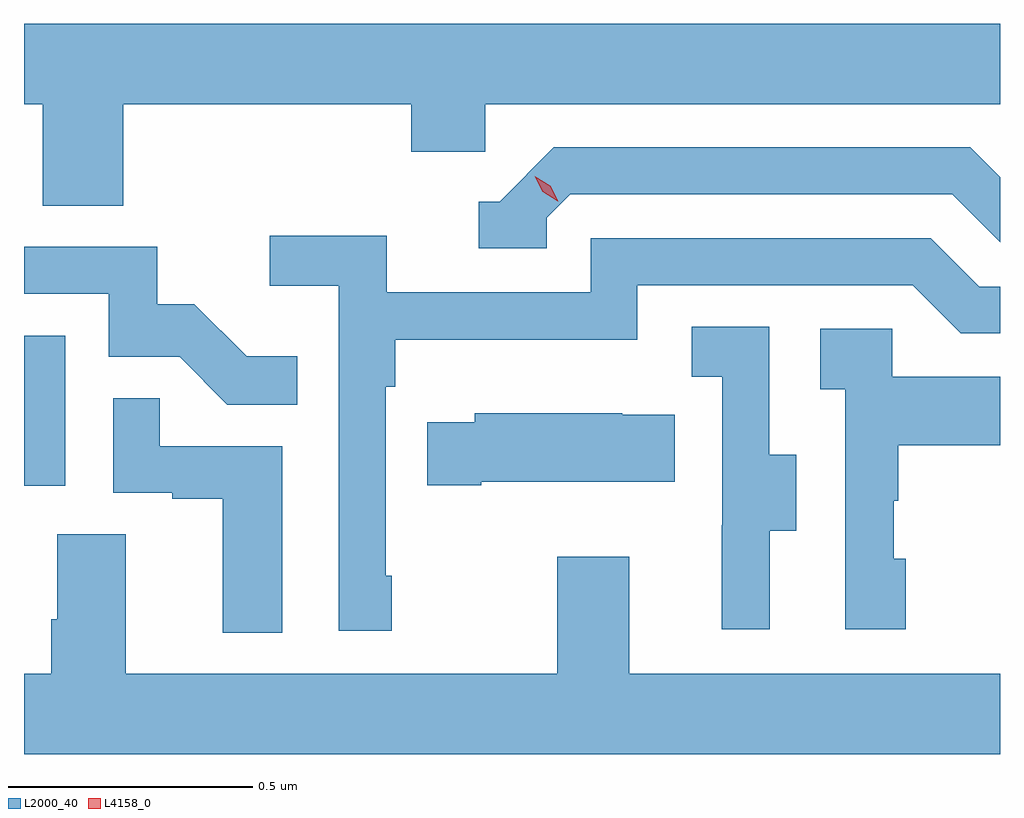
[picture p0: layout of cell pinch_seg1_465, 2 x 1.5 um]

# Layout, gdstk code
import gdstk
lib = gdstk.Library(unit=1e-6, precision=1e-09)
def R(c, l, rs):  # rectangles x0, y0, x1, y1
    for r in rs: c.add(gdstk.rectangle(r[:2], r[2:], *l))
def P(c, l, *ps):  # polygons
    for p in ps: c.add(gdstk.Polygon(p, *l))
L2000_40 = (2000, 40)
L4158_0 = (4158, 0)

pinch_seg1_465 = lib.new_cell('pinch_seg1_465')
R(pinch_seg1_465, L2000_40, [(1000.785,508.326,1000.87,508.633)])
P(pinch_seg1_465, L2000_40, [(1000.988,509.108),(1001.579,509.108),(1001.579,509.01),(1001.73,509.01),(1001.73,509.108),(1002.785,509.108),(1002.785,509.272),(1000.785,509.272),(1000.785,509.108),(1000.823,509.108),(1000.823,508.9),(1000.988,508.9)],
  [(1001.856,508.875),(1001.904,508.923),(1002.687,508.923),(1002.785,508.825),(1002.785,508.958),(1002.724,509.019),(1001.871,509.019),(1001.76,508.908),(1001.717,508.908),(1001.717,508.812),(1001.856,508.812)],
  [(1001.539,508.141),(1001.526,508.141),(1001.526,508.529),(1001.546,508.529),(1001.546,508.625),(1002.042,508.625),(1002.042,508.737),(1002.606,508.737),(1002.705,508.638),(1002.785,508.638),(1002.785,508.734),(1002.742,508.734),(1002.643,508.833),(1001.946,508.833),(1001.946,508.722),(1001.528,508.722),(1001.528,508.838),(1001.289,508.838),(1001.289,508.736),(1001.43,508.736),(1001.43,508.029),(1001.539,508.029)],
  [(1001.345,508.591),(1001.241,508.591),(1001.134,508.698),(1001.058,508.698),(1001.058,508.815),(1000.785,508.815),(1000.785,508.719),(1000.959,508.719),(1000.959,508.59),(1001.104,508.59),(1001.202,508.492),(1001.345,508.492)],
  [(1002.313,508.234),(1002.367,508.234),(1002.367,508.389),(1002.312,508.389),(1002.312,508.652),(1002.153,508.652),(1002.153,508.549),(1002.216,508.549),(1002.216,508.245),(1002.215,508.245),(1002.215,508.032),(1002.313,508.032)],
  [(1002.592,508.176),(1002.567,508.176),(1002.567,508.295),(1002.577,508.295),(1002.577,508.409),(1002.785,508.409),(1002.785,508.549),(1002.564,508.549),(1002.564,508.647),(1002.417,508.647),(1002.417,508.523),(1002.468,508.523),(1002.468,508.032),(1002.592,508.032)],
  [(1001.314,508.407),(1001.063,508.407),(1001.063,508.505),(1000.968,508.505),(1000.968,508.311),(1001.089,508.311),(1001.089,508.299),(1001.192,508.299),(1001.192,508.025),(1001.314,508.025)],
  [(1001.722,508.334),(1002.119,508.334),(1002.119,508.471),(1002.011,508.471),(1002.011,508.474),(1001.709,508.474),(1001.709,508.456),(1001.611,508.456),(1001.611,508.327),(1001.722,508.327)],
  [(1002.785,507.94),(1002.025,507.94),(1002.025,508.18),(1001.878,508.18),(1001.878,507.94),(1000.993,507.94),(1000.993,508.226),(1000.853,508.226),(1000.853,508.052),(1000.841,508.052),(1000.841,507.94),(1000.785,507.94),(1000.785,507.776),(1002.785,507.776)])
P(pinch_seg1_465, L4158_0, [(1001.879,508.909),(1001.848,508.928),(1001.832,508.96),(1001.832,508.96),(1001.832,508.96),(1001.863,508.941),(1001.88,508.909),(1001.88,508.909)])

lib.write_gds('pinch_seg1_465.gds')
